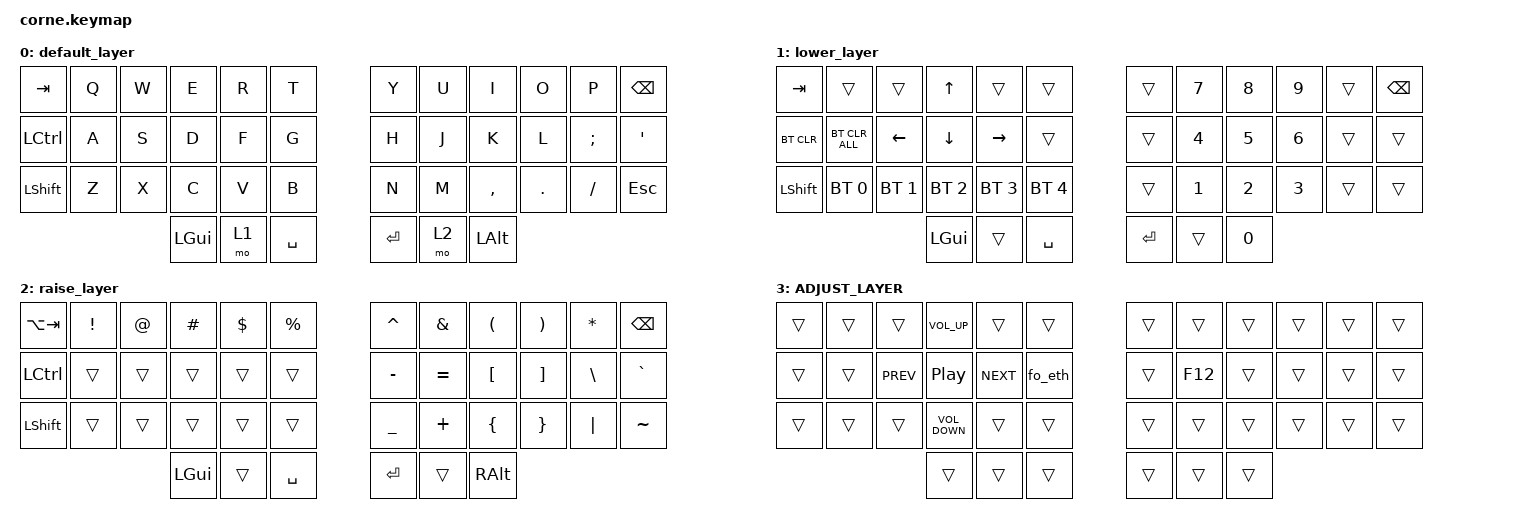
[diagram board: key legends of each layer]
/*
 * Copyright (c) 2020 The ZMK Contributors
 *
 * SPDX-License-Identifier: MIT
 */

#include <behaviors.dtsi>
#include <dt-bindings/zmk/bt.h>
#include <dt-bindings/zmk/keys.h>
#include <dt-bindings/zmk/outputs.h>

#define HOST_OS 1
#include "zmk-helpers/helper.h"

// Source unicode-chars for Faroese
#include "zmk-helpers/unicode-chars/faroese.dtsi"

/ {
    combos {
        compatible = "zmk,combos";

        Ctrl+Bksp {
            bindings = <&kp LC(BACKSPACE)>;
            key-positions = <19 20>;
        };

        Ctrl+Del {
            bindings = <&kp LC(DEL)>;
            key-positions = <19 21>;
        };

        Eth {
            bindings = <&kp RA(D)>;
            key-positions = <21 22>;
        };

        Omnibar {
            bindings = <&kp LA(SPACE)>;
            key-positions = <38 39>;
        };

        BT_Toggle {
            bindings = <&out OUT_TOG>;
            key-positions = <23 12>;
        };

        Esc {
            bindings = <&kp ESC>;
            key-positions = <21 14>;
        };

        Tab {
            bindings = <&kp TAB>;
            key-positions = <14 15>;
        };
    };

    keymap {
        compatible = "zmk,keymap";

        default_layer {

            //╭───────────╮ ╭─────────────┬─────────────┬─────────────┬─────────────┬─────────────╮ ╭─────────────┬─────────────┬─────────────┬─────────────┬─────────────╮ ╭──────────╮
            //  &kp TAB       &kp Q         &kp W         &kp E         &kp R         &kp T           &kp Y         &kp U         &kp I         &kp O         &kp P           &kp BSPC
            //├───────────┤ ├─────────────┼─────────────┼─────────────┼─────────────┼─────────────┤ ├─────────────┼─────────────┼─────────────┼─────────────┼─────────────┤ ├──────────┤
            //  &kp LCTRL     &kp A         &kp S         &kp D         &kp F         &kp G           &kp H         &kp J         &kp K         &kp L         &kp SEMI        &kp SQT
            //├───────────┤ ├─────────────┼─────────────┼─────────────┼─────────────┼─────────────┤ ├─────────────┼─────────────┼─────────────┼─────────────┼─────────────┤ ├──────────┤
            //  &kp LSHFT     &kp Z         &kp X         &kp C         &kp V         &kp B           &kp N         &kp M         &kp COMMA     &kp DOT       &kp FSLH        &kp ESC
            //╰───────────╯ ╰─────────────┼─────────────┴─────────────┼─────────────┼─────────────┤ ├─────────────┼─────────────┼─────────────┴───────────────────────────╯ ╰──────────╯
            //                                              &kp LGUI      &mo 1         &kp SPACE       &kp RET       &mo 2         &kp LALT                                           
            //                                          ╰─────────────┴─────────────┴─────────────╯ ╰─────────────┴─────────────┴─────────────╯                                           

            bindings = <
&kp TAB    &kp Q  &kp W  &kp E     &kp R  &kp T        &kp Y    &kp U  &kp I      &kp O    &kp P     &kp BSPC
&kp LCTRL  &kp A  &kp S  &kp D     &kp F  &kp G        &kp H    &kp J  &kp K      &kp L    &kp SEMI  &kp SQT
&kp LSHFT  &kp Z  &kp X  &kp C     &kp V  &kp B        &kp N    &kp M  &kp COMMA  &kp DOT  &kp FSLH  &kp ESC
                         &kp LGUI  &mo 1  &kp SPACE    &kp RET  &mo 2  &kp LALT
            >;
        };

        lower_layer {
            // -----------------------------------------------------------------------------------------
            // |  TAB |  1  |  2  |  3  |  4  |  5  |   |  6  |  7  |  8  |  9  |  0  | BKSP |
            // | BTCLR| BT1 | BT2 | BT3 | BT4 | BT5 |   | LFT | DWN |  UP | RGT |     |      |
            // | SHFT |     |     |     |     |     |   |     |     |     |     |     |      |
            //                    | GUI |     | SPC |   | ENT |     | ALT |

            bindings = <
&kp TAB     &trans              &trans          &kp UP          &trans          &trans          &trans  &kp N7  &kp N8  &kp N9  &trans  &kp BSPC
&bt BT_CLR  &bt BT_CLR_ALL      &kp LEFT        &kp DOWN        &kp RIGHT       &trans          &trans  &kp N4  &kp N5  &kp N6  &trans  &trans
&kp LSHFT   &bt BT_SEL 0        &bt BT_SEL 1    &bt BT_SEL 2    &bt BT_SEL 3    &bt BT_SEL 4    &trans  &kp N1  &kp N2  &kp N3  &trans  &trans
                                &kp LGUI        &trans          &kp SPACE       &kp RET         &trans  &kp N0
            >;
        };

        raise_layer {
            // -----------------------------------------------------------------------------------------
            // |  TAB |  !  |  @  |  #  |  $  |  %  |   |  ^  |  &  |  *  |  (  |  )  | BKSP |
            // | CTRL |     |     |     |     |     |   |  -  |  =  |  [  |  ]  |  \  |  `   |
            // | SHFT |     |     |     |     |     |   |  _  |  +  |  {  |  }  | "|" |  ~   |
            //                    | GUI |     | SPC |   | ENT |     | ALT |

            bindings = <
&kp LA(TAB)  &kp EXCL  &kp AT  &kp HASH  &kp DLLR  &kp PRCNT    &kp CARET  &kp AMPS   &kp LPAR   &kp RPAR  &kp ASTRK &kp BSPC
&kp LCTRL    &trans    &trans  &trans    &trans    &trans       &kp MINUS  &kp EQUAL  &kp LBKT   &kp RBKT  &kp BSLH  &kp GRAVE
&kp LSHFT    &trans    &trans  &trans    &trans    &trans       &kp UNDER  &kp PLUS   &kp LBRC   &kp RBRC  &kp PIPE  &kp TILDE
                               &kp LGUI  &trans    &kp SPACE    &kp RET    &trans     &kp RALT
            >;
        };

        ADJUST_LAYER {
            bindings = <
&trans  &trans  &trans      &kp C_VOLUME_UP    &trans      &trans    &trans  &trans   &trans  &trans  &trans  &trans
&trans  &trans  &kp C_PREV  &kp C_PLAY_PAUSE   &kp C_NEXT  &fo_eth    &trans  &kp F12  &trans  &trans  &trans  &trans
&trans  &trans  &trans      &kp C_VOLUME_DOWN  &trans      &trans    &trans  &trans   &trans  &trans  &trans  &trans
                            &trans             &trans      &trans    &trans  &trans   &trans
            >;
        };
    };
    conditional_layers {
        compatible = "zmk,conditional-layers";

        adjust {
            if-layers = <1 2>;
            then-layer = <3>;
        };
    };
};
